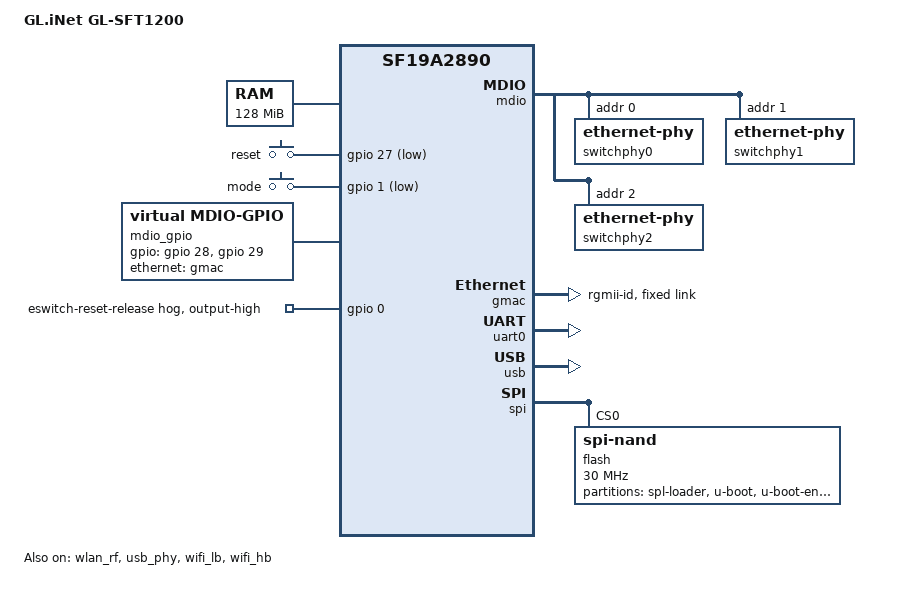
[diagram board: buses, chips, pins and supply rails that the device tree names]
// SPDX-License-Identifier: GPL-2.0-or-later OR MIT
/dts-v1/;

#include <dt-bindings/input/input.h>
#include <dt-bindings/leds/common.h>
#include <dt-bindings/clock/siflower,sf19a2890-clk.h>
#include "sf19a2890.dtsi"

/ {
	model = "GL.iNet GL-SFT1200";
	compatible = "glinet,gl-sft1200", "siflower,sf19a2890";

	chosen {
		stdout-path = "serial0:115200n8";
		/* attach the NAND "ubi" partition so the squashfs-on-UBI rootfs
		 * (rootfs + rootfs_data volumes) mounts on a flashed install */
		bootargs = "earlycon ubi.mtd=ubi";
	};

	memory@0 {
		device_type = "memory";
		reg = <0x0 0x8000000>; /* 128 MB DDR3 */
	};

	keys {
		compatible = "gpio-keys";

		reset {
			label = "reset";
			gpios = <&gpio 27 GPIO_ACTIVE_LOW>;
			linux,code = <KEY_RESTART>;
		};

		mode {
			label = "mode";
			gpios = <&gpio 1 GPIO_ACTIVE_LOW>;
			linux,code = <BTN_0>;
		};
	};

	/*
	 * External switch: MaxLinear GSW150 / Lantiq PEB7084 (== vendor "intel7084").
	 * CONFIRMED on hardware: GSWIP version reg 0xfa11 reads 0x2003 over the
	 * GPIO bit-banged MDIO bus (gswprobe). Driven by the upstream DSA driver
	 * mxl-gsw1xx (backported from torvalds/master to 6.12).
	 *
	 * Bus: standard Linux mdio-gpio bit-bang on GPIO28(MDC)/GPIO29(MDIO) -- the
	 * exact transport the vendor sf_eswitch used (virtual,mdio-gpio + SMDIO
	 * indirect; NOT the SoC dwmac-mdio, NOT Realtek SMI). The switch sits at
	 * SMDIO addr 0 (gsw_mdio_addr[0]=0). GMAC drops &mdio_pins so 28/29 stay
	 * free for the bit-bang; GPIO0 hog (below) releases the GSW150 reset.
	 *
	 * Topology (gsw150_data.allowed_cpu_ports = BIT(5)|BIT(6); MII_PORT=5):
	 *   port 0 = wan, port 1 = lan1, port 2 = lan2 (integrated PHYs),
	 *   port 5 = RGMII CPU port -> &gmac conduit.
	 */
	mdio_gpio: mdio {
		compatible = "virtual,mdio-gpio";
		#address-cells = <1>;
		#size-cells = <0>;
		gpios = <&gpio 28 GPIO_ACTIVE_HIGH>,	/* MDC  */
			<&gpio 29 GPIO_ACTIVE_HIGH>;	/* MDIO */

		switch@0 {
			compatible = "lantiq,peb7084";
			reg = <0>;

			ports {
				#address-cells = <1>;
				#size-cells = <0>;

				port@0 {
					reg = <0>;
					label = "wan";
					phy-handle = <&switchphy0>;
					phy-mode = "internal";
				};
				port@1 {
					reg = <1>;
					label = "lan1";
					phy-handle = <&switchphy1>;
					phy-mode = "internal";
				};
				port@2 {
					reg = <2>;
					label = "lan2";
					phy-handle = <&switchphy2>;
					phy-mode = "internal";
				};
				port@5 {
					reg = <5>;
					ethernet = <&gmac>;
					/*
					 * RGMII delay ownership: the SoC gmac glue
					 * (dwmac-sf19a2890) programs factory-calibrated
					 * TX+RX taps and the &gmac node is "rgmii-id".
					 * The mxl-gsw1xx driver ALSO defaults the switch
					 * PCDU to 2ns TX + 2ns RX, which stacked on top of
					 * the SoC delay (double-delay) and broke the
					 * switch->gmac return path: port1 RxGoodPkts rose
					 * but eth0 RX stayed 0 with zero CRC errors (severe
					 * RGMII RX mis-timing -> no valid SFD -> silently
					 * dropped). Diagnosed live via debugfs regmap +
					 * per-port ethtool MIB. Fix: switch adds ZERO delay
					 * (both internal-delay-ps = 0); the SoC gmac owns
					 * the timing, restoring the unmanaged-build profile.
					 */
					phy-mode = "rgmii";
					tx-internal-delay-ps = <0>;
					rx-internal-delay-ps = <0>;
					fixed-link {
						speed = <1000>;
						full-duplex;
					};
				};
			};

			/* integrated port-PHYs, reached via the GSWIP internal MDIO */
			mdio {
				#address-cells = <1>;
				#size-cells = <0>;

				switchphy0: ethernet-phy@0 { reg = <0>; };
				switchphy1: ethernet-phy@1 { reg = <1>; };
				switchphy2: ethernet-phy@2 { reg = <2>; };
			};
		};
	};

	/*
	 * Wi-Fi MAC engines. Driver (sf_smac/siwifi) of_match = siflower,sf19a2890-{lb,hb};
	 * it requests reset-names "wlan_reset"/"iram_reset" and uses interrupt index 1 as
	 * the UMAC irq. reg/interrupts/smp-affinity are the authoritative values read from
	 * the live unit's device tree (independently re-confirmed: lb irq 90/89 aff 2,
	 * hb irq 186/185 aff 3, rf irq 187).
	 *
	 * CLOCKS: the fmac driver does devm_clk_bulk_get_all() then bulk-enables
	 * every clock in this node (it never indexes them by name). It needs both
	 * the 3 AXI gates (wlan24clk/wlan5clk axis/axim/plf, in the periph CRM at
	 * 0x19e08004 / 0x19e0c404) AND the 5 functional clocks the vendor binds --
	 * wlan_mac_wt, bus2, m_SFDSP (DSP), wlan5_mac_wt, bus3. Those 5 all live in
	 * the MAIN clk controller (&clk @ 0x19e01000) and mainline already models
	 * them: m_SFDSP_0/1 @ 0x19e01680/0x19e016a0 == CLK_MUXDIV_M6250_0/1 (same
	 * register, just named "m6250"); wlan24/5_mac_wt @ 0x19e016c0/e0 ==
	 * CLK_MUXDIV_WLAN24/5_PLF; bus2/bus3 @ 0x19e01420/40 == CLK_MUXDIV_BUS2/3
	 * (already CLK_IS_CRITICAL). Our earlier 3-AXI-only DT let the driver probe
	 * but HUNG the SoC at HB firmware-load because the DSP (m_SFDSP) was
	 * unclocked -> bus wedge. Listing all 8 below fixes it (also satisfies the
	 * driver's >=8 clock count check in siwifi_mpw0.c).
	 */
	wifi_lb: wifi-lb@11000000 {
		compatible = "siflower,sf19a2890-lb";
		reg = <0x11000000 0x400000>;
		interrupt-parent = <&gic>;
		interrupts = <GIC_SHARED 90 IRQ_TYPE_LEVEL_HIGH>,
			     <GIC_SHARED 89 IRQ_TYPE_LEVEL_HIGH>;
		clocks = <&wlan24clk 0>, <&wlan24clk 1>, <&wlan24clk 2>,
			 <&clk CLK_MUXDIV_WLAN24_PLF>,	/* wlan_clk (wlan24 mac_wt) */
			 <&clk CLK_MUXDIV_BUS2>,	/* bus2_clk */
			 <&clk CLK_MUXDIV_M6250_0>,	/* m_SFDSPclk (DSP, lb == vendor m_SFDSP_0) */
			 <&clk CLK_MUXDIV_WLAN5_PLF>,	/* wlan5_clk */
			 <&clk CLK_MUXDIV_BUS3>;	/* bus3_clk */
		clock-names = "wlan_axis", "wlan_axim", "wlan_plf",
			      "wlan_clk", "bus2_clk", "m_SFDSPclk",
			      "wlan5_clk", "bus3_clk";
		resets = <&wlan24rst 0>, <&wlan24rst 1>;
		reset-names = "wlan_reset", "iram_reset";
		smp-affinity = <2>;
		status = "okay";
	};

	wifi_hb: wifi-hb@17800000 {
		compatible = "siflower,sf19a2890-hb";
		reg = <0x17800000 0x400000>;
		interrupt-parent = <&gic>;
		interrupts = <GIC_SHARED 186 IRQ_TYPE_LEVEL_HIGH>,
			     <GIC_SHARED 185 IRQ_TYPE_LEVEL_HIGH>;
		clocks = <&wlan5clk 0>, <&wlan5clk 1>, <&wlan5clk 2>,
			 <&clk CLK_MUXDIV_WLAN5_PLF>,	/* wlan_clk (wlan5 mac_wt) */
			 <&clk CLK_MUXDIV_BUS3>,	/* bus3_clk */
			 <&clk CLK_MUXDIV_M6250_1>,	/* m_SFDSPclk (DSP, hb == vendor m_SFDSP_1) */
			 <&clk CLK_MUXDIV_WLAN24_PLF>,	/* wlan24_clk */
			 <&clk CLK_MUXDIV_BUS2>;	/* bus2_clk */
		clock-names = "wlan_axis", "wlan_axim", "wlan_plf",
			      "wlan_clk", "bus3_clk", "m_SFDSPclk",
			      "wlan24_clk", "bus2_clk";
		resets = <&wlan5rst 0>, <&wlan5rst 1>;
		reset-names = "wlan_reset", "iram_reset";
		smp-affinity = <3>;
		status = "okay";
	};
};

/*
 * GPIO0 = switch reset (vendor U-Boot: "trigger eswitch hw reset, gpio:0").
 * Proven active-low on hardware: line LOW -> MDIO reads 0xffff (chip floating/
 * in reset), line HIGH -> chip responds. Hog it HIGH so the chip is released
 * before the mdio-gpio bus scans at boot (otherwise the scan finds nothing).
 */
&gpio {
	eswitch_reset_hog {
		gpio-hog;
		gpios = <0 0>;
		output-high;
		line-name = "eswitch-reset-release";
	};
};

&gmac {
	status = "okay";
	phy-mode = "rgmii-id";
	snps,ps-speed = <1000>;
	/*
	 * Drop &mdio_pins (kept rgmii_pins only): the GSW150 is on the GPIO
	 * bit-bang MDIO (mdio_gpio), not the hardware dwmac-mdio, so GPIO28/29 must
	 * stay free. The dwmac MDIO bus is left unused.
	 */
	pinctrl-names = "default";
	pinctrl-0 = <&rgmii_pins>;
	nvmem-cells = <&macaddr_factory_0>, <&rgmii_delay_factory_b2>;
	nvmem-cell-names = "mac-address", "rgmii-delay";

	/*
	 * The dwmac HW-feature register reports FIFO size 0, so stmmac computes
	 * txfifosz=0 and rejects any MTU change (incl. the +8 DSA tag) with -EINVAL.
	 * stmmac_platform reads "tx-fifo-depth"/"rx-fifo-depth" (NOT snps,*-fifo-size)
	 * into plat->{tx,rx}_fifo_size; change_mtu divides by tx_queues_to_use (=1
	 * here). Declare 4096: vendor g-tx-fifo-size sums to 3584 (only fits 4096),
	 * dma_cap confirms RXFIFO > 2048.
	 */
	tx-fifo-depth = <4096>;
	rx-fifo-depth = <4096>;

	fixed-link {
		speed = <1000>;
		full-duplex;
		pause;
	};
};

/* RF front-end (upstream node) — the siwifi RF driver binds here. */
&wlan_rf {
	status = "okay";
};

&uart0 {
	status = "okay";
};

&usb {
	status = "okay";
};

&usb_phy {
	status = "okay";
};

&spi {
	status = "okay";

	flash@0 {
		compatible = "spi-nand";
		reg = <0>;
		spi-max-frequency = <30000000>;

		/*
		 * Verified flash layout from the live unit (/proc/mtd). The vendor
		 * "firmware" region is a kernel(4M) + UBI(rest) split — modelled here
		 * as two partitions so OpenWrt boots the kernel raw and mounts rootfs
		 * from the UBI volume.
		 */
		partitions {
			compatible = "fixed-partitions";
			#address-cells = <1>;
			#size-cells = <1>;

			partition@0 {
				label = "spl-loader";
				reg = <0x0 0x20000>;
				read-only;
			};

			partition@20000 {
				label = "u-boot";
				reg = <0x20000 0x60000>;
			};

			partition@80000 {
				label = "u-boot-env";
				reg = <0x80000 0x20000>;
			};

			factory: partition@a0000 {
				label = "factory";
				reg = <0xa0000 0x20000>;

				nvmem-layout {
					compatible = "fixed-layout";
					#address-cells = <1>;
					#size-cells = <1>;

					macaddr_factory_0: macaddr@0 {
						reg = <0x0 0x6>;
					};

					rgmii_delay_factory_b2: rgmii-delay@b2 {
						reg = <0xb2 0x4>;
					};
				};
			};

			partition@c0000 {
				label = "kernel";
				reg = <0xc0000 0x400000>; /* 4 MB raw kernel */
			};

			partition@4c0000 {
				label = "ubi";
				reg = <0x4c0000 0x7940000>; /* rootfs + overlay (UBI) */
			};

			partition@7e00000 {
				label = "log";
				reg = <0x7e00000 0x40000>;
			};
		};
	};
};
